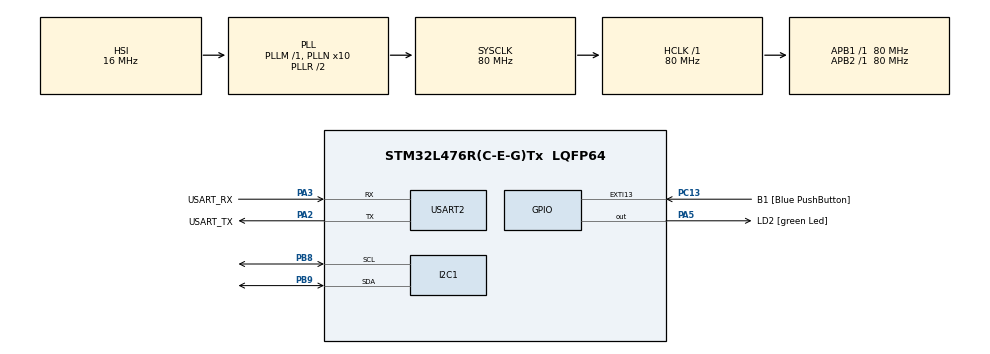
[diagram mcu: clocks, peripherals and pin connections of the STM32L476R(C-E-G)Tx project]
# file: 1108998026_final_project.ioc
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I2C1.Timing=0x10909CEC
Mcu.Family=STM32L4
Mcu.Name=STM32L476R(C-E-G)Tx
Mcu.Package=LQFP64
NVIC.PriorityGroup=NVIC_PRIORITYGROUP_4
NVIC.USART2_IRQn=true\:0\:0\:false\:false\:true\:true\:true\:true
PA13\ (JTMS-SWDIO).GPIO_Label=TMS
PA13\ (JTMS-SWDIO).Mode=Serial_Wire
PA13\ (JTMS-SWDIO).Signal=SYS_JTMS-SWDIO
PA14\ (JTCK-SWCLK).GPIO_Label=TCK
PA14\ (JTCK-SWCLK).Mode=Serial_Wire
PA14\ (JTCK-SWCLK).Signal=SYS_JTCK-SWCLK
PA2.GPIO_Label=USART_TX
PA2.GPIO_Mode=GPIO_MODE_AF_PP
PA2.GPIO_PuPd=GPIO_NOPULL
PA2.GPIO_Speed=GPIO_SPEED_FREQ_VERY_HIGH
PA2.Mode=Asynchronous
PA2.Signal=USART2_TX
PA3.GPIO_Label=USART_RX
PA3.GPIO_Mode=GPIO_MODE_AF_PP
PA3.GPIO_PuPd=GPIO_NOPULL
PA3.GPIO_Speed=GPIO_SPEED_FREQ_VERY_HIGH
PA3.Mode=Asynchronous
PA3.Signal=USART2_RX
PA5.GPIO_Label=LD2 [green Led]
PA5.GPIO_ModeDefaultOutputPP=GPIO_MODE_OUTPUT_PP
PA5.GPIO_PuPd=GPIO_NOPULL
PA5.GPIO_Speed=GPIO_SPEED_FREQ_LOW
PA5.Signal=GPIO_Output
PB3\ (JTDO-TRACESWO).GPIO_Label=SWO
PB3\ (JTDO-TRACESWO).Signal=SYS_JTDO-SWO
PB8.Mode=I2C
PB8.Signal=I2C1_SCL
PB9.Mode=I2C
PB9.Signal=I2C1_SDA
PC13.GPIO_Label=B1 [Blue PushButton]
PC13.GPIO_ModeDefaultEXTI=GPIO_MODE_IT_FALLING
PC13.GPIO_PuPd=GPIO_NOPULL
PC13.Signal=GPXTI13
PC14-OSC32_IN\ (PC14).Mode=LSE-External-Oscillator
PC14-OSC32_IN\ (PC14).Signal=RCC_OSC32_IN
PC15-OSC32_OUT\ (PC15).Mode=LSE-External-Oscillator
PC15-OSC32_OUT\ (PC15).Signal=RCC_OSC32_OUT
PH0-OSC_IN\ (PH0).Signal=RCC_OSC_IN
PH1-OSC_OUT\ (PH1).Signal=RCC_OSC_OUT
ProjectManager.HeapSize=0x200
ProjectManager.StackSize=0x400
ProjectManager.TargetToolchain=STM32CubeIDE
RCC.ADCFreq_Value=64000000
RCC.AHBFreq_Value=80000000
RCC.APB1Freq_Value=80000000
RCC.APB1TimFreq_Value=80000000
RCC.APB2Freq_Value=80000000
RCC.APB2TimFreq_Value=80000000
RCC.CortexFreq_Value=80000000
RCC.HCLKFreq_Value=80000000
RCC.HSE_VALUE=8000000
RCC.HSI_VALUE=16000000
RCC.MSI_VALUE=4000000
RCC.PLLN=10
RCC.PLLSourceVirtual=RCC_PLLSOURCE_HSI
RCC.PREFETCH_ENABLE=1
RCC.SYSCLKFreq_VALUE=80000000
RCC.SYSCLKSource=RCC_SYSCLKSOURCE_PLLCLK
RCC.USBFreq_Value=64000000
RCC.VCOOutputFreq_Value=160000000
USART2.VirtualMode-Asynchronous=VM_ASYNC
board=NUCLEO-L476RG

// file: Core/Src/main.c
/* USER CODE BEGIN Header */
/**
  ******************************************************************************
  * @file           : main.c
  * @brief          : Main program body
  ******************************************************************************
  * @attention
  *
  * Copyright (c) 2023 STMicroelectronics.
  * All rights reserved.
  *
  * This software is licensed under terms that can be found in the LICENSE file
  * in the root directory of this software component.
  * If no LICENSE file comes with this software, it is provided AS-IS.
  *
  ******************************************************************************
  */
/* USER CODE END Header */
#include "main.h"

/* USER CODE BEGIN Includes */
#include "string.h"
#include "stdio.h"
/*Include library ring_buffer*/
#include "ring_buffer.h"

/*Include librarys ssd1306*/
#include "ssd1306.h"
#include "ssd1306_fonts.h"
/* USER CODE END Includes */

I2C_HandleTypeDef hi2c1;

UART_HandleTypeDef huart2;

/* USER CODE BEGIN PV */
uint8_t rx_buffer[10];
ring_buffer_t receive_docum;
uint8_t rx_docum;
uint8_t incorrect;
/* USER CODE END PV */

void SystemClock_Config(void);
static void MX_GPIO_Init(void);
static void MX_USART2_UART_Init(void);
static void MX_I2C1_Init(void);

/* USER CODE BEGIN 0 */
/**
 * @brief Overrides the standard _write function to redirect output to UART.
 * @param file File descriptor (not used).
 * @param ptr Pointer to the character buffer to be transmitted.
 * @param len Number of bytes to transmit.
 * @return The number of bytes transmitted.
 */
int _write(int file, char *ptr, int len)
{
	HAL_UART_Transmit(&huart2, (uint8_t*)ptr, len, HAL_MAX_DELAY);
	return len;
}
/**
* @brief Callback function for UART receive complete event.
* @param huart Pointer to the UART handle that triggered the receive complete event.
*/
void HAL_UART_RxCpltCallback(UART_HandleTypeDef *huart){

	ring_buffer_put(&receive_docum, rx_docum);

	HAL_UART_Receive_IT(&huart2, &rx_docum,1);
}

/**
 * @brief Validates a sequence of data by comparing it with the cedula number
 * @param none
 *
 **/
void validate_sequence(void)
{
	//sequence to be compared
	 uint8_t code_std[10]="1108998026";

	 //Variable to store the read sequence
	 uint8_t sequence[10];

	 //Store the sequence read from the ring_buffer
	 for (uint8_t idx = 0; idx < 10; idx++) {
	 			ring_buffer_get(&receive_docum, &sequence[idx]);
	 		}
	 /**The two sequences are compared**/
	 //If the sequences are equal, the display shows a message "Succes".
	 	  if (memcmp(code_std,sequence,10) == 0){
	 		  ssd1306_Init();
	 		  ssd1306_Fill(Black);
	 		  ssd1306_SetCursor(12, 12);
	 		  ssd1306_WriteString("Success", Font_16x26, White);
	 		  ssd1306_UpdateScreen();
	 		  HAL_Delay(10000);
	 		 incorrect=0;
	 	  }
	 	  //If the sequences are not equal, the display shows a message "Failed".
	 	  else {
	 		  incorrect+=1;//A counter for failed attempts is added.
		 	 //If the counter reaches three, the display shows the message "Blocked".
		 		if(incorrect== 3){
		 			 	ssd1306_Init();
		 			 	ssd1306_Fill(Black);
		 			 	ssd1306_SetCursor(12, 12);
		 			 	ssd1306_WriteString("Blocked", Font_16x26, White);
		 			 	ssd1306_UpdateScreen();
		 			 	HAL_Delay(30000);
		 			 	incorrect=0;//the counter is reset
		 				}
		 		else{
	 		  ssd1306_Init();
	 		  ssd1306_Fill(Black);
	 		  ssd1306_SetCursor(12, 12);
	 		  ssd1306_WriteString("Failed", Font_16x26, White);
	 		  ssd1306_UpdateScreen();
	 		  HAL_Delay(10000);
		 		}
	 	  }

}
/* USER CODE END 0 */

int main(void)
{

  /* MCU Configuration--------------------------------------------------------*/

  /* Reset of all peripherals, Initializes the Flash interface and the Systick. */
  HAL_Init();

  /* Configure the system clock */
  SystemClock_Config();

  /* Initialize all configured peripherals */
  MX_GPIO_Init();
  MX_USART2_UART_Init();
  MX_I2C1_Init();
  /* USER CODE BEGIN 2 */
  /**The ring_buffer is initialised**/
  ring_buffer_init(&receive_docum, rx_buffer, 10);

  //Data is received via the ring_buffer
  HAL_UART_Receive_IT(&huart2, &rx_docum, 1);

  ssd1306_Init();
  /* USER CODE END 2 */

  /* Infinite loop */
  /* USER CODE BEGIN WHILE */
  while (1)

  {
	  /*The display shows the message "Waiting" in normal mode, until data is received.*/

	  ssd1306_Fill(Black);
	  ssd1306_SetCursor(12, 12);
	  ssd1306_WriteString("Waiting", Font_16x26, White);
	  ssd1306_UpdateScreen();
	  uint8_t size=ring_buffer_size(&receive_docum);
	  if(size!=0){
		  validate_sequence();
	  }

    /* USER CODE END WHILE */
  }
}

void SystemClock_Config(void)
{
  RCC_OscInitTypeDef RCC_OscInitStruct = {0};
  RCC_ClkInitTypeDef RCC_ClkInitStruct = {0};

  /** Configure the main internal regulator output voltage
  */
  if (HAL_PWREx_ControlVoltageScaling(PWR_REGULATOR_VOLTAGE_SCALE1) != HAL_OK)
  {
    Error_Handler();
  }

  /** Initializes the RCC Oscillators according to the specified parameters
  * in the RCC_OscInitTypeDef structure.
  */
  RCC_OscInitStruct.OscillatorType = RCC_OSCILLATORTYPE_HSI;
  RCC_OscInitStruct.HSIState = RCC_HSI_ON;
  RCC_OscInitStruct.HSICalibrationValue = RCC_HSICALIBRATION_DEFAULT;
  RCC_OscInitStruct.PLL.PLLState = RCC_PLL_ON;
  RCC_OscInitStruct.PLL.PLLSource = RCC_PLLSOURCE_HSI;
  RCC_OscInitStruct.PLL.PLLM = 1;
  RCC_OscInitStruct.PLL.PLLN = 10;
  RCC_OscInitStruct.PLL.PLLP = RCC_PLLP_DIV7;
  RCC_OscInitStruct.PLL.PLLQ = RCC_PLLQ_DIV2;
  RCC_OscInitStruct.PLL.PLLR = RCC_PLLR_DIV2;
  if (HAL_RCC_OscConfig(&RCC_OscInitStruct) != HAL_OK)
  {
    Error_Handler();
  }

  /** Initializes the CPU, AHB and APB buses clocks
  */
  RCC_ClkInitStruct.ClockType = RCC_CLOCKTYPE_HCLK|RCC_CLOCKTYPE_SYSCLK
                              |RCC_CLOCKTYPE_PCLK1|RCC_CLOCKTYPE_PCLK2;
  RCC_ClkInitStruct.SYSCLKSource = RCC_SYSCLKSOURCE_PLLCLK;
  RCC_ClkInitStruct.AHBCLKDivider = RCC_SYSCLK_DIV1;
  RCC_ClkInitStruct.APB1CLKDivider = RCC_HCLK_DIV1;
  RCC_ClkInitStruct.APB2CLKDivider = RCC_HCLK_DIV1;

  if (HAL_RCC_ClockConfig(&RCC_ClkInitStruct, FLASH_LATENCY_4) != HAL_OK)
  {
    Error_Handler();
  }
}

static void MX_I2C1_Init(void)
{

  hi2c1.Instance = I2C1;
  hi2c1.Init.Timing = 0x10909CEC;
  hi2c1.Init.OwnAddress1 = 0;
  hi2c1.Init.AddressingMode = I2C_ADDRESSINGMODE_7BIT;
  hi2c1.Init.DualAddressMode = I2C_DUALADDRESS_DISABLE;
  hi2c1.Init.OwnAddress2 = 0;
  hi2c1.Init.OwnAddress2Masks = I2C_OA2_NOMASK;
  hi2c1.Init.GeneralCallMode = I2C_GENERALCALL_DISABLE;
  hi2c1.Init.NoStretchMode = I2C_NOSTRETCH_DISABLE;
  if (HAL_I2C_Init(&hi2c1) != HAL_OK)
  {
    Error_Handler();
  }

  /** Configure Analogue filter
  */
  if (HAL_I2CEx_ConfigAnalogFilter(&hi2c1, I2C_ANALOGFILTER_ENABLE) != HAL_OK)
  {
    Error_Handler();
  }

  /** Configure Digital filter
  */
  if (HAL_I2CEx_ConfigDigitalFilter(&hi2c1, 0) != HAL_OK)
  {
    Error_Handler();
  }

}

static void MX_USART2_UART_Init(void)
{

  huart2.Instance = USART2;
  huart2.Init.BaudRate = 115200;
  huart2.Init.WordLength = UART_WORDLENGTH_8B;
  huart2.Init.StopBits = UART_STOPBITS_1;
  huart2.Init.Parity = UART_PARITY_NONE;
  huart2.Init.Mode = UART_MODE_TX_RX;
  huart2.Init.HwFlowCtl = UART_HWCONTROL_NONE;
  huart2.Init.OverSampling = UART_OVERSAMPLING_16;
  huart2.Init.OneBitSampling = UART_ONE_BIT_SAMPLE_DISABLE;
  huart2.AdvancedInit.AdvFeatureInit = UART_ADVFEATURE_NO_INIT;
  if (HAL_UART_Init(&huart2) != HAL_OK)
  {
    Error_Handler();
  }

}

static void MX_GPIO_Init(void)
{
  GPIO_InitTypeDef GPIO_InitStruct = {0};

  /* GPIO Ports Clock Enable */
  __HAL_RCC_GPIOC_CLK_ENABLE();
  __HAL_RCC_GPIOH_CLK_ENABLE();
  __HAL_RCC_GPIOA_CLK_ENABLE();
  __HAL_RCC_GPIOB_CLK_ENABLE();

  /*Configure GPIO pin Output Level */
  HAL_GPIO_WritePin(LD2_GPIO_Port, LD2_Pin, GPIO_PIN_RESET);

  /*Configure GPIO pin : B1_Pin */
  GPIO_InitStruct.Pin = B1_Pin;
  GPIO_InitStruct.Mode = GPIO_MODE_IT_FALLING;
  GPIO_InitStruct.Pull = GPIO_NOPULL;
  HAL_GPIO_Init(B1_GPIO_Port, &GPIO_InitStruct);

  /*Configure GPIO pin : LD2_Pin */
  GPIO_InitStruct.Pin = LD2_Pin;
  GPIO_InitStruct.Mode = GPIO_MODE_OUTPUT_PP;
  GPIO_InitStruct.Pull = GPIO_NOPULL;
  GPIO_InitStruct.Speed = GPIO_SPEED_FREQ_LOW;
  HAL_GPIO_Init(LD2_GPIO_Port, &GPIO_InitStruct);

}

void Error_Handler(void)
{
  __disable_irq();
  while (1)
  {
  }
}
